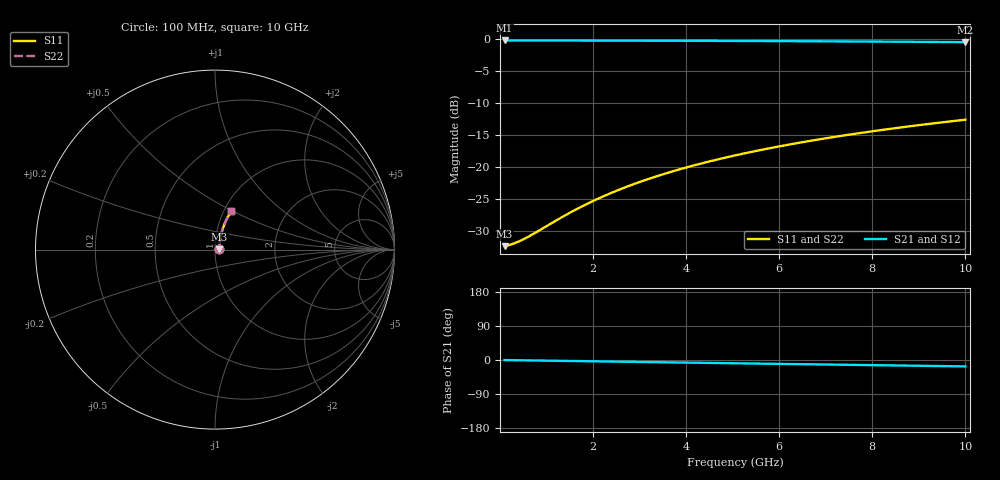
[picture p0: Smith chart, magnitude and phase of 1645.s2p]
# Hz S RI R 50.00
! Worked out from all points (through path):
!   100 points, 100 MHz to 10 GHz, reference 50 ohm
!   highest |S21| = -0.21 dB at 100 MHz (marker M1); lowest = -0.5 dB at 10 GHz (marker M2)
!   group delay of S21, straight-line fit = 4.69 ps
!   lowest |S11| = -32.4 dB at 100 MHz (marker M3), VSWR 1.05, Z = 52.4 + j0.245 ohm
!   |S11| at or under -10 dB: start of sweep to end of sweep
!   |S22| runs from -32.4 to -12.6 dB; largest |S21 - S12| = 0
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1e8  0.0239 0.00233  0.9761 -0.00293  0.9761 -0.00293  0.0239 0.00233
2e8  0.024 0.00467  0.976 -0.00585  0.976 -0.00585  0.024 0.00467
3e8  0.0242 0.007  0.9758 -0.00878  0.9758 -0.00878  0.0242 0.007
4e8  0.0243 0.00933  0.9757 -0.0117  0.9757 -0.0117  0.0243 0.00933
5e8  0.0245 0.0117  0.9755 -0.0146  0.9755 -0.0146  0.0245 0.0117
7e8  0.0248 0.0163  0.9752 -0.0205  0.9752 -0.0205  0.0248 0.0163
1.4e9  0.0261 0.0326  0.9739 -0.0409  0.9739 -0.0409  0.0261 0.0326
1.8e9  0.0271 0.0418  0.9728 -0.0525  0.9728 -0.0525  0.0271 0.0418
2.2e9  0.0283 0.051  0.9716 -0.0641  0.9716 -0.0641  0.0283 0.051
2.6e9  0.0298 0.0602  0.9701 -0.0756  0.9701 -0.0756  0.0298 0.0602
3e9  0.0314 0.0693  0.9684 -0.0871  0.9684 -0.0871  0.0314 0.0693
3.4e9  0.0332 0.0784  0.9665 -0.0986  0.9665 -0.0986  0.0332 0.0784
3.8e9  0.0353 0.0874  0.9644 -0.11  0.9644 -0.11  0.0353 0.0874
4.2e9  0.0376 0.0964  0.9621 -0.1213  0.9621 -0.1213  0.0376 0.0964
4.6e9  0.04 0.1053  0.9596 -0.1326  0.9596 -0.1326  0.04 0.1053
5.1e9  0.0434 0.1163  0.9561 -0.1465  0.9561 -0.1465  0.0434 0.1163
5.9e9  0.0494 0.1336  0.9499 -0.1686  0.9499 -0.1686  0.0494 0.1336
6.7e9  0.0562 0.1505  0.943 -0.1903  0.943 -0.1903  0.0562 0.1505
7.5e9  0.0637 0.167  0.9352 -0.2116  0.9352 -0.2116  0.0637 0.167
8.4e9  0.0731 0.185  0.9256 -0.2349  0.9256 -0.2349  0.0731 0.185
9.2e9  0.0821 0.2004  0.9164 -0.2552  0.9164 -0.2552  0.0821 0.2004
1e10  0.0917 0.2154  0.9065 -0.2749  0.9065 -0.2749  0.0917 0.2154
